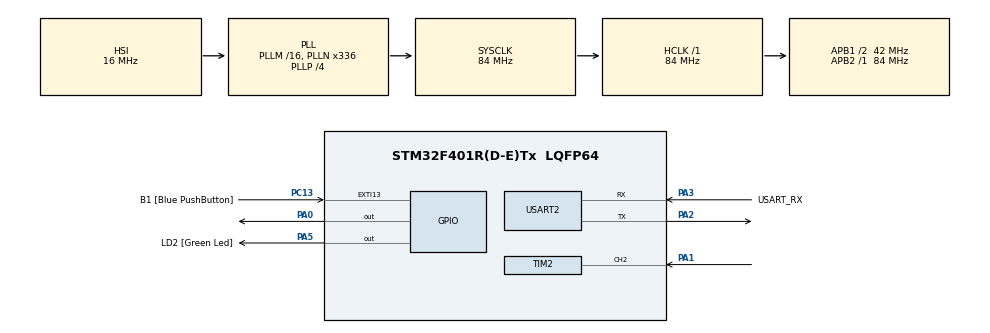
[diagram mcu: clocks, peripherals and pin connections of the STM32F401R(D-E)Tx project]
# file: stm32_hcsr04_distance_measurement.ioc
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Mcu.Family=STM32F4
Mcu.Name=STM32F401R(D-E)Tx
Mcu.Package=LQFP64
NVIC.PriorityGroup=NVIC_PRIORITYGROUP_4
NVIC.TIM2_IRQn=true\:0\:0\:false\:false\:true\:true\:true\:true
PA0-WKUP.Signal=GPIO_Output
PA1.Signal=S_TIM2_CH2
PA13.GPIO_Label=TMS
PA13.Mode=Trace_Asynchronous_SW
PA13.Signal=SYS_JTMS-SWDIO
PA14.GPIO_Label=TCK
PA14.Mode=Trace_Asynchronous_SW
PA14.Signal=SYS_JTCK-SWCLK
PA2.Mode=Asynchronous
PA2.Signal=USART2_TX
PA3.GPIO_Label=USART_RX
PA3.GPIO_Mode=GPIO_MODE_AF_PP
PA3.GPIO_PuPd=GPIO_NOPULL
PA3.GPIO_Speed=GPIO_SPEED_FREQ_LOW
PA3.Mode=Asynchronous
PA3.Signal=USART2_RX
PA5.GPIO_Label=LD2 [Green Led]
PA5.GPIO_Mode=GPIO_MODE_OUTPUT_PP
PA5.GPIO_PuPd=GPIO_NOPULL
PA5.GPIO_Speed=GPIO_SPEED_FREQ_LOW
PA5.Signal=GPIO_Output
PB3.GPIO_Label=SWO
PB3.Mode=Trace_Asynchronous_SW
PB3.Signal=SYS_JTDO-SWO
PC13-ANTI_TAMP.GPIO_Label=B1 [Blue PushButton]
PC13-ANTI_TAMP.GPIO_ModeDefaultEXTI=GPIO_MODE_IT_FALLING
PC13-ANTI_TAMP.GPIO_PuPd=GPIO_NOPULL
PC13-ANTI_TAMP.Signal=GPXTI13
PC14-OSC32_IN.Mode=LSE-External-Oscillator
PC14-OSC32_IN.Signal=RCC_OSC32_IN
PC15-OSC32_OUT.Mode=LSE-External-Oscillator
PC15-OSC32_OUT.Signal=RCC_OSC32_OUT
PH0\ -\ OSC_IN.Mode=HSE-External-Clock-Source
PH0\ -\ OSC_IN.Signal=RCC_OSC_IN
PH1\ -\ OSC_OUT.Mode=HSE-External-Clock-Source
PH1\ -\ OSC_OUT.Signal=RCC_OSC_OUT
ProjectManager.HeapSize=0x200
ProjectManager.StackSize=0x400
ProjectManager.TargetToolchain=CMake
RCC.48MHZClocksFreq_Value=48000000
RCC.AHBFreq_Value=84000000
RCC.APB1CLKDivider=RCC_HCLK_DIV2
RCC.APB1Freq_Value=42000000
RCC.APB1TimFreq_Value=84000000
RCC.APB2Freq_Value=84000000
RCC.APB2TimFreq_Value=84000000
RCC.CortexFreq_Value=84000000
RCC.HCLKFreq_Value=84000000
RCC.HSE_VALUE=8000000
RCC.HSI_VALUE=16000000
RCC.PLLN=336
RCC.PLLP=RCC_PLLP_DIV4
RCC.PLLQ=7
RCC.SYSCLKFreq_VALUE=84000000
RCC.SYSCLKSource=RCC_SYSCLKSOURCE_PLLCLK
RCC.VCOOutputFreq_Value=336000000
SH.S_TIM2_CH2.0=TIM2_CH2,Input_Capture2_from_TI2
TIM2.Channel-Input_Capture2_from_TI2=TIM_CHANNEL_2
TIM2.Period=65535
TIM2.Prescaler=83
USART2.VirtualMode=VM_ASYNC
VP_TIM2_VS_ClockSourceINT.Mode=Internal
board=NUCLEO-F401RE

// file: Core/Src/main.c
/* USER CODE BEGIN Header */
/**
  ******************************************************************************
  * @file           : main.c
  * @brief          : Main program body
  ******************************************************************************
  * @attention
  *
  * Copyright (c) 2026 STMicroelectronics.
  * All rights reserved.
  *
  * This software is licensed under terms that can be found in the LICENSE file
  * in the root directory of this software component.
  * If no LICENSE file comes with this software, it is provided AS-IS.
  *
  ******************************************************************************
  */
/* USER CODE END Header */
#include "main.h"
#include <stdint.h>

/* USER CODE BEGIN PTD */
typedef enum
{
    WAIT_INTERVAL,   // wait between measurements
    TRIGGER,         // send ultrasonic trigger pulse
    WAIT_RISING,     // wait for echo signal rising edge
    WAIT_FALLING,    // wait for echo signal falling edge
    DONE,            // measurement complete
    TIMEOUT          // no echo received
} state_t;
/* USER CODE END PTD */

TIM_HandleTypeDef htim2;

UART_HandleTypeDef huart2;

/* USER CODE BEGIN PV */
volatile state_t state = TRIGGER;
volatile uint32_t ic_start = 0;
volatile uint32_t ic_end = 0;
volatile uint32_t timeout_start = 0;
volatile uint32_t last_time = 0;

/* USER CODE END PV */

void SystemClock_Config(void);
static void MX_GPIO_Init(void);
static void MX_USART2_UART_Init(void);
static void MX_TIM2_Init(void);
/* USER CODE BEGIN PFP */

/**
 * @brief Microsecond busy-wait delay using TIM2.
 *
 * Delays execution for the specified number of microseconds by polling
 * the TIM2 counter register. The function records the current timer
 * value and waits until the elapsed counter difference reaches the
 * requested delay time.
 *
 * The delay relies on TIM2 being configured with a 1 MHz timer clock
 * (1 timer tick = 1 µs). The subtraction-based comparison ensures that
 * the delay works correctly even if the timer counter overflows.
 *
 * Note: This is a blocking delay that keeps the CPU busy while waiting.
 *
 * @param us Delay duration in microseconds.
 */
static void delay_us(uint16_t us);

/**
 * @brief Transmit an unsigned integer over UART without using printf.
 *
 * Converts the given unsigned integer value into its ASCII decimal
 * representation and sends the digits sequentially over UART.
 *
 * The conversion is performed manually by repeatedly extracting the
 * least significant digit using modulo 10 and storing the digits in a
 * temporary buffer in reverse order. The buffer is then transmitted
 * in reverse to restore the correct digit order.
 *
 * This function avoids the use of printf in order to reduce code size
 * and dependencies.
 *
 * @param value Unsigned integer value to be transmitted via UART.
 */
static void uart_send_uint(uint16_t value);

/* USER CODE END PFP */

/**
 * @brief Program entry point.
 *
 * Initializes the microcontroller hardware and starts the ultrasonic
 * distance measurement system. After system initialization and clock
 * configuration, all required peripherals are set up, including GPIO,
 * UART for serial output, and TIM2 for microsecond timing and input
 * capture.
 *
 * TIM2 runs as a free-running timer with a 1 MHz clock (1 µs resolution).
 * Input capture interrupts are enabled on channel 2 to detect rising and
 * falling edges of the ultrasonic echo signal.
 *
 * The main loop executes a non-blocking state machine that controls the
 * measurement cycle. The state machine triggers the ultrasonic sensor,
 * waits for the echo signal, handles timeout conditions, and outputs the
 * measured distance via UART.
 *
 * Timestamp capture of the echo edges is performed in the timer interrupt
 * callback, while the main loop processes the measurement results and
 * schedules subsequent measurements.
 *
 * @retval int This function does not return.
 */
int main(void)
{

  /* MCU Configuration--------------------------------------------------------*/

  /* Reset of all peripherals, Initializes the Flash interface and the Systick. */
  HAL_Init();

  /* Configure the system clock */
  SystemClock_Config();

  /* Initialize all configured peripherals */
  MX_GPIO_Init();
  MX_USART2_UART_Init();
  MX_TIM2_Init();
  /* USER CODE BEGIN 2 */
  HAL_TIM_Base_Start(&htim2);
  HAL_TIM_IC_Start_IT(&htim2, TIM_CHANNEL_2);
  const uint16_t TIMEOUT_LIMIT = 35000;

  /* USER CODE END 2 */

  /* Infinite loop */
  /* USER CODE BEGIN WHILE */
  while (1)
  {
    switch(state)
    {
      case TRIGGER:
        timeout_start = __HAL_TIM_GET_COUNTER(&htim2);
        __HAL_TIM_SET_CAPTUREPOLARITY(&htim2, TIM_CHANNEL_2, TIM_INPUTCHANNELPOLARITY_RISING);

        HAL_GPIO_WritePin(GPIOA, GPIO_PIN_0, GPIO_PIN_SET);
        delay_us(10);
        HAL_GPIO_WritePin(GPIOA, GPIO_PIN_0, GPIO_PIN_RESET);

        state = WAIT_RISING;
        break;

      case WAIT_INTERVAL:
        if(HAL_GetTick() - last_time >= 500)
        {
          last_time = HAL_GetTick();
          state = TRIGGER;
        }
        break;

      case WAIT_RISING:
      case WAIT_FALLING:
        if((uint16_t)(__HAL_TIM_GET_COUNTER(&htim2) - timeout_start) > TIMEOUT_LIMIT)
        {
            state = TIMEOUT;
        }
        break;

      case DONE:
        uint16_t diff = (uint16_t)(ic_end - ic_start);

        uint16_t distance_cm = diff / 58;

        HAL_UART_Transmit(&huart2, (uint8_t*)"Distance: ", 10, 100);
        uart_send_uint(distance_cm);
        HAL_UART_Transmit(&huart2, (uint8_t*)" cm\r\n", 5, 100);

        state = WAIT_INTERVAL;
        break;

      case TIMEOUT:
        HAL_UART_Transmit(&huart2, (uint8_t*)"out of range\r\n", 14, 100);
        state = WAIT_INTERVAL;
        break;
    }
    /* USER CODE END WHILE */

  }
}

void SystemClock_Config(void)
{
  RCC_OscInitTypeDef RCC_OscInitStruct = {0};
  RCC_ClkInitTypeDef RCC_ClkInitStruct = {0};

  /** Configure the main internal regulator output voltage
  */
  __HAL_RCC_PWR_CLK_ENABLE();
  __HAL_PWR_VOLTAGESCALING_CONFIG(PWR_REGULATOR_VOLTAGE_SCALE2);

  /** Initializes the RCC Oscillators according to the specified parameters
  * in the RCC_OscInitTypeDef structure.
  */
  RCC_OscInitStruct.OscillatorType = RCC_OSCILLATORTYPE_HSI;
  RCC_OscInitStruct.HSIState = RCC_HSI_ON;
  RCC_OscInitStruct.HSICalibrationValue = RCC_HSICALIBRATION_DEFAULT;
  RCC_OscInitStruct.PLL.PLLState = RCC_PLL_ON;
  RCC_OscInitStruct.PLL.PLLSource = RCC_PLLSOURCE_HSI;
  RCC_OscInitStruct.PLL.PLLM = 16;
  RCC_OscInitStruct.PLL.PLLN = 336;
  RCC_OscInitStruct.PLL.PLLP = RCC_PLLP_DIV4;
  RCC_OscInitStruct.PLL.PLLQ = 7;
  if (HAL_RCC_OscConfig(&RCC_OscInitStruct) != HAL_OK)
  {
    Error_Handler();
  }

  /** Initializes the CPU, AHB and APB buses clocks
  */
  RCC_ClkInitStruct.ClockType = RCC_CLOCKTYPE_HCLK|RCC_CLOCKTYPE_SYSCLK
                              |RCC_CLOCKTYPE_PCLK1|RCC_CLOCKTYPE_PCLK2;
  RCC_ClkInitStruct.SYSCLKSource = RCC_SYSCLKSOURCE_PLLCLK;
  RCC_ClkInitStruct.AHBCLKDivider = RCC_SYSCLK_DIV1;
  RCC_ClkInitStruct.APB1CLKDivider = RCC_HCLK_DIV2;
  RCC_ClkInitStruct.APB2CLKDivider = RCC_HCLK_DIV1;

  if (HAL_RCC_ClockConfig(&RCC_ClkInitStruct, FLASH_LATENCY_2) != HAL_OK)
  {
    Error_Handler();
  }
}

static void MX_TIM2_Init(void)
{

  TIM_ClockConfigTypeDef sClockSourceConfig = {0};
  TIM_MasterConfigTypeDef sMasterConfig = {0};
  TIM_IC_InitTypeDef sConfigIC = {0};

  htim2.Instance = TIM2;
  htim2.Init.Prescaler = 83;
  htim2.Init.CounterMode = TIM_COUNTERMODE_UP;
  htim2.Init.Period = 65535;
  htim2.Init.ClockDivision = TIM_CLOCKDIVISION_DIV1;
  htim2.Init.AutoReloadPreload = TIM_AUTORELOAD_PRELOAD_DISABLE;
  if (HAL_TIM_Base_Init(&htim2) != HAL_OK)
  {
    Error_Handler();
  }
  sClockSourceConfig.ClockSource = TIM_CLOCKSOURCE_INTERNAL;
  if (HAL_TIM_ConfigClockSource(&htim2, &sClockSourceConfig) != HAL_OK)
  {
    Error_Handler();
  }
  if (HAL_TIM_IC_Init(&htim2) != HAL_OK)
  {
    Error_Handler();
  }
  sMasterConfig.MasterOutputTrigger = TIM_TRGO_RESET;
  sMasterConfig.MasterSlaveMode = TIM_MASTERSLAVEMODE_DISABLE;
  if (HAL_TIMEx_MasterConfigSynchronization(&htim2, &sMasterConfig) != HAL_OK)
  {
    Error_Handler();
  }
  sConfigIC.ICPolarity = TIM_INPUTCHANNELPOLARITY_RISING;
  sConfigIC.ICSelection = TIM_ICSELECTION_DIRECTTI;
  sConfigIC.ICPrescaler = TIM_ICPSC_DIV1;
  sConfigIC.ICFilter = 0;
  if (HAL_TIM_IC_ConfigChannel(&htim2, &sConfigIC, TIM_CHANNEL_2) != HAL_OK)
  {
    Error_Handler();
  }

}

static void MX_USART2_UART_Init(void)
{

  huart2.Instance = USART2;
  huart2.Init.BaudRate = 115200;
  huart2.Init.WordLength = UART_WORDLENGTH_8B;
  huart2.Init.StopBits = UART_STOPBITS_1;
  huart2.Init.Parity = UART_PARITY_NONE;
  huart2.Init.Mode = UART_MODE_TX_RX;
  huart2.Init.HwFlowCtl = UART_HWCONTROL_NONE;
  huart2.Init.OverSampling = UART_OVERSAMPLING_16;
  if (HAL_UART_Init(&huart2) != HAL_OK)
  {
    Error_Handler();
  }

}

static void MX_GPIO_Init(void)
{
  GPIO_InitTypeDef GPIO_InitStruct = {0};

  /* GPIO Ports Clock Enable */
  __HAL_RCC_GPIOC_CLK_ENABLE();
  __HAL_RCC_GPIOH_CLK_ENABLE();
  __HAL_RCC_GPIOA_CLK_ENABLE();
  __HAL_RCC_GPIOB_CLK_ENABLE();

  /*Configure GPIO pin Output Level */
  HAL_GPIO_WritePin(GPIOA, GPIO_PIN_0|LD2_Pin, GPIO_PIN_RESET);

  /*Configure GPIO pin : B1_Pin */
  GPIO_InitStruct.Pin = B1_Pin;
  GPIO_InitStruct.Mode = GPIO_MODE_IT_FALLING;
  GPIO_InitStruct.Pull = GPIO_NOPULL;
  HAL_GPIO_Init(B1_GPIO_Port, &GPIO_InitStruct);

  /*Configure GPIO pins : PA0 LD2_Pin */
  GPIO_InitStruct.Pin = GPIO_PIN_0|LD2_Pin;
  GPIO_InitStruct.Mode = GPIO_MODE_OUTPUT_PP;
  GPIO_InitStruct.Pull = GPIO_NOPULL;
  GPIO_InitStruct.Speed = GPIO_SPEED_FREQ_LOW;
  HAL_GPIO_Init(GPIOA, &GPIO_InitStruct);

}

/* USER CODE BEGIN 4 */

static void delay_us(uint16_t us)
{
  const uint32_t start = __HAL_TIM_GET_COUNTER(&htim2);
  while ((uint16_t)(__HAL_TIM_GET_COUNTER(&htim2) - start) < us);
}

static void uart_send_uint(uint16_t value)
{
    char buffer[10];
    int i = 0;

    if (value == 0)
    {
        uint8_t c = '0';
        HAL_UART_Transmit(&huart2, &c, 1, 100);
        return;
    }

    while (value > 0)
    {
        buffer[i] = (value % 10) + '0';
        value /= 10;
        i++;
    }

    while (i != 0)
    {
      i--;
      HAL_UART_Transmit(&huart2, (uint8_t*)&buffer[i], 1, 100);
    }
}

/**
 * @brief Timer input capture interrupt callback for ultrasonic echo measurement.
 *
 * This callback is triggered on input capture events of TIM2 channel 2.
 * It measures the echo pulse width of the ultrasonic sensor using two edges:
 *
 * 1. Rising edge:
 *    - Marks the start of the echo pulse
 *    - Stores the capture value in ic_start
 *    - Switches the capture polarity to falling edge
 *    - Updates the state to US_WAIT_FALLING
 *
 * 2. Falling edge:
 *    - Marks the end of the echo pulse
 *    - Stores the capture value in ic_end
 *    - Restores capture polarity to rising edge
 *    - Updates the state to US_DONE
 */
void HAL_TIM_IC_CaptureCallback(TIM_HandleTypeDef *htim)
{
  if(htim->Instance == TIM2 && htim->Channel == HAL_TIM_ACTIVE_CHANNEL_2)
  {
    if(state == WAIT_RISING)
    {
      ic_start = HAL_TIM_ReadCapturedValue(htim, TIM_CHANNEL_2);

      state = WAIT_FALLING;

      __HAL_TIM_SET_CAPTUREPOLARITY(htim, TIM_CHANNEL_2, TIM_INPUTCHANNELPOLARITY_FALLING);
    }
    else if(state == WAIT_FALLING)
    {
      ic_end = HAL_TIM_ReadCapturedValue(htim, TIM_CHANNEL_2);

      state = DONE;

      __HAL_TIM_SET_CAPTUREPOLARITY(htim, TIM_CHANNEL_2, TIM_INPUTCHANNELPOLARITY_RISING);
    }
  }
}

/* USER CODE END 4 */

void Error_Handler(void)
{
  __disable_irq();
  while (1)
  {
  }
}
